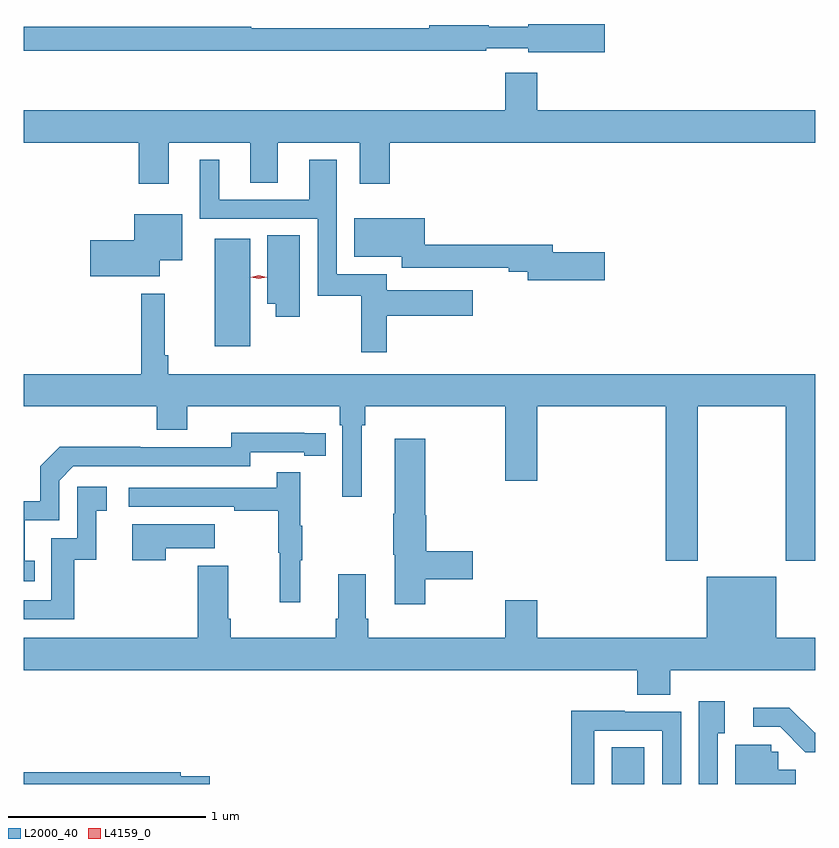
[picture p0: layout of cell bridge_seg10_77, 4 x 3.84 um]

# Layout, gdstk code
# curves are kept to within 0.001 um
import gdstk
lib = gdstk.Library(unit=1e-6, precision=1e-09)
def R(c, l, rs):  # rectangles x0, y0, x1, y1
    for r in rs: c.add(gdstk.rectangle(r[:2], r[2:], *l))
def P(c, l, *ps):  # polygons
    for p in ps: c.add(gdstk.Polygon(p, *l))
L2000_40 = (2000, 40)
L4159_0 = (4159, 0)

bridge_seg10_77 = lib.new_cell('bridge_seg10_77')
R(bridge_seg10_77, L2000_40, [(681.032,1261.113,681.196,1261.298), (679.025,1263.323,679.204,1263.868)])
P(bridge_seg10_77, L2000_40, [(680.995,1264.952),(680.61,1264.952),(680.61,1264.939),(680.41,1264.939),(680.41,1264.946),(680.11,1264.946),(680.11,1264.931),(679.21,1264.931),(679.21,1264.939),(678.06,1264.939),(678.06,1264.818),(680.396,1264.818),(680.396,1264.83),(680.61,1264.83),(680.61,1264.81),(680.995,1264.81)],
  [(678.793,1264.352),(679.205,1264.352),(679.205,1264.15),(679.345,1264.15),(679.345,1264.352),(679.757,1264.352),(679.757,1264.146),(679.91,1264.146),(679.91,1264.352),(682.06,1264.352),(682.06,1264.516),(680.656,1264.516),(680.656,1264.705),(680.492,1264.705),(680.492,1264.516),(678.06,1264.516),(678.06,1264.352),(678.641,1264.352),(678.641,1264.146),(678.793,1264.146)],
  [(679.895,1263.478),(680.329,1263.478),(680.329,1263.607),(679.895,1263.607),(679.895,1263.687),(679.641,1263.687),(679.641,1264.267),(679.502,1264.267),(679.502,1264.065),(679.048,1264.065),(679.048,1264.267),(678.95,1264.267),(678.95,1263.969),(679.545,1263.969),(679.545,1263.579),(679.767,1263.579),(679.767,1263.294),(679.895,1263.294)],
  [(678.748,1263.758),(678.862,1263.758),(678.862,1263.991),(678.62,1263.991),(678.62,1263.86),(678.396,1263.86),(678.396,1263.677),(678.748,1263.677)],
  [(680.995,1263.8),(680.734,1263.8),(680.734,1263.836),(680.086,1263.836),(680.086,1263.97),(679.73,1263.97),(679.73,1263.776),(679.97,1263.776),(679.97,1263.72),(680.51,1263.72),(680.51,1263.7),(680.606,1263.7),(680.606,1263.658),(680.995,1263.658)],
  [(679.456,1263.884),(679.292,1263.884),(679.292,1263.539),(679.334,1263.539),(679.334,1263.474),(679.456,1263.474)],
  [(681.465,1263.02),(681.91,1263.02),(681.91,1262.241),(682.06,1262.241),(682.06,1263.184),(678.791,1263.184),(678.791,1263.28),(678.774,1263.28),(678.774,1263.589),(678.655,1263.589),(678.655,1263.184),(678.06,1263.184),(678.06,1263.02),(678.734,1263.02),(678.734,1262.903),(678.886,1262.903),(678.886,1263.02),(679.658,1263.02),(679.658,1262.924),(679.671,1262.924),(679.671,1262.565),(679.768,1262.565),(679.768,1262.924),(679.787,1262.924),(679.787,1263.02),(680.492,1263.02),(680.492,1262.646),(680.656,1262.646),(680.656,1263.02),(681.305,1263.02),(681.305,1262.241),(681.465,1262.241)],
  [(678.116,1262.241),(678.067,1262.241),(678.067,1262.445),(678.24,1262.445),(678.24,1262.646),(678.312,1262.718),(679.206,1262.718),(679.206,1262.79),(679.478,1262.79),(679.478,1262.77),(679.586,1262.77),(679.586,1262.886),(679.11,1262.887),(679.11,1262.814),(678.65,1262.814),(678.65,1262.816),(678.242,1262.816),(678.144,1262.718),(678.144,1262.541),(678.06,1262.541),(678.06,1262.136),(678.116,1262.136)],
  [(680.088,1262.146),(680.329,1262.146),(680.329,1262.288),(680.093,1262.288),(680.093,1262.471),(680.088,1262.471),(680.088,1262.857),(679.934,1262.857),(679.934,1262.477),(679.927,1262.477),(679.927,1262.271),(679.934,1262.271),(679.934,1262.022),(680.088,1262.022)],
  [(679.457,1262.243),(679.468,1262.243),(679.468,1262.417),(679.457,1262.417),(679.457,1262.689),(679.339,1262.689),(679.339,1262.61),(678.591,1262.61),(678.591,1262.514),(679.123,1262.514),(679.123,1262.494),(679.347,1262.494),(679.347,1262.28),(679.354,1262.28),(679.354,1262.031),(679.457,1262.031)],
  [(678.317,1262.247),(678.428,1262.247),(678.428,1262.493),(678.481,1262.493),(678.481,1262.614),(678.33,1262.614),(678.33,1262.355),(678.201,1262.355),(678.201,1262.04),(678.06,1262.04),(678.06,1261.944),(678.317,1261.944)],
  [(678.779,1262.303),(679.027,1262.303),(679.027,1262.425),(678.608,1262.425),(678.608,1262.244),(678.779,1262.244)],
  [(681.326,1261.688),(682.06,1261.688),(682.06,1261.852),(681.862,1261.852),(681.862,1262.161),(681.512,1262.161),(681.512,1261.852),(680.656,1261.852),(680.656,1262.041),(680.492,1262.041),(680.492,1261.852),(679.802,1261.852),(679.802,1261.948),(679.789,1261.948),(679.789,1262.173),(679.649,1262.173),(679.649,1261.948),(679.637,1261.948),(679.637,1261.852),(679.106,1261.852),(679.106,1261.948),(679.093,1261.948),(679.093,1262.215),(678.941,1262.215),(678.941,1261.852),(678.06,1261.852),(678.06,1261.688),(681.161,1261.688),(681.161,1261.564),(681.326,1261.564)],
  [(681.567,1261.37),(681.601,1261.37),(681.601,1261.531),(681.471,1261.531),(681.471,1261.113),(681.567,1261.113)],
  [(682.06,1261.371),(682.056,1261.371),(681.928,1261.499),(681.747,1261.499),(681.747,1261.401),(681.882,1261.401),(682.009,1261.274),(682.06,1261.274)],
  [(680.943,1261.383),(681.285,1261.383),(681.285,1261.113),(681.381,1261.113),(681.381,1261.479),(681.097,1261.479),(681.097,1261.483),(680.827,1261.483),(680.827,1261.113),(680.943,1261.113)],
  [(681.961,1261.186),(681.873,1261.186),(681.873,1261.275),(681.837,1261.275),(681.837,1261.311),(681.656,1261.311),(681.656,1261.113),(681.961,1261.113)],
  [(679.001,1261.152),(678.854,1261.152),(678.854,1261.172),(678.06,1261.172),(678.06,1261.113),(679.001,1261.113)])
P(bridge_seg10_77, L4159_0, [(679.248,1263.664),(679.208,1263.674),(679.208,1263.674),(679.208,1263.674),(679.248,1263.684),(679.288,1263.674),(679.288,1263.674),(679.288,1263.674)])

lib.write_gds('bridge_seg10_77.gds')
